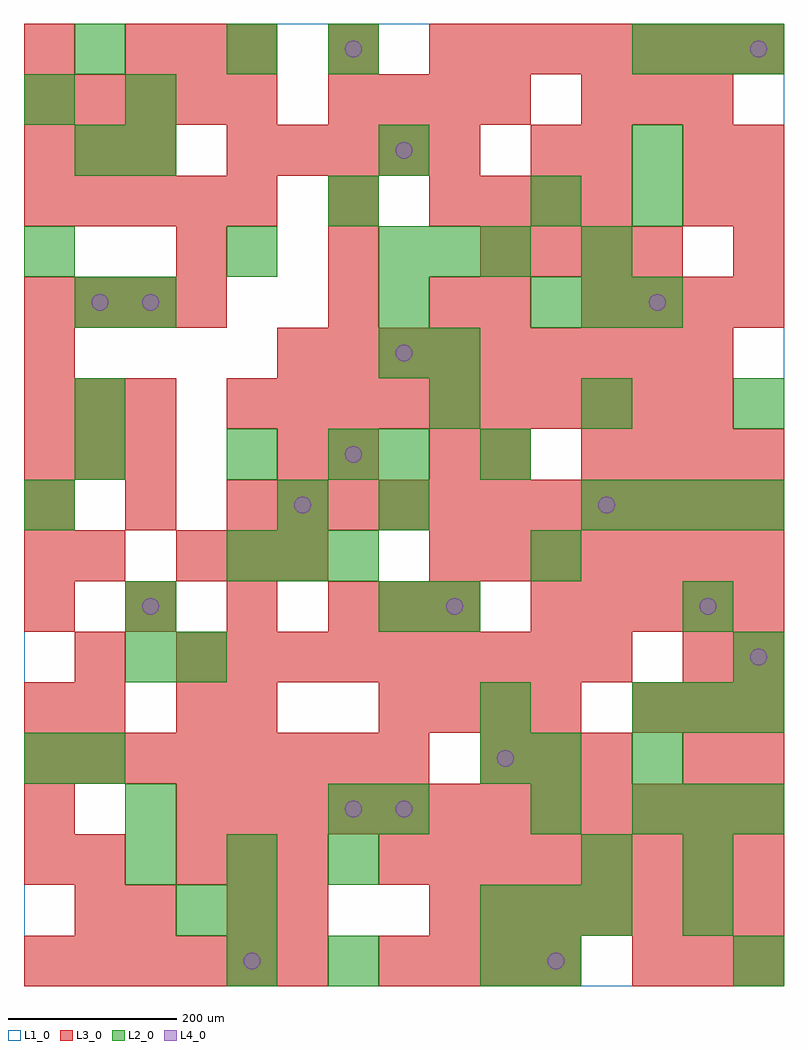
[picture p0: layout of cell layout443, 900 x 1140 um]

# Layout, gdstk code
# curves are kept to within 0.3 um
import gdstk
lib = gdstk.Library(unit=1e-6, precision=1e-09)
def R(c, l, rs):  # rectangles x0, y0, x1, y1
    for r in rs: c.add(gdstk.rectangle(r[:2], r[2:], *l))
def A(c, l, x, y, w, h, nx, ny, dx, dy):  # array of equal rectangles
    R(c, l, [(x+i*dx, y+j*dy, x+i*dx+w, y+j*dy+h) for i in range(nx) for j in range(ny)])
def P(c, l, *ps):  # polygons
    for p in ps: c.add(gdstk.Polygon(p, *l))
L1_0 = (1, 0)
L2_0 = (2, 0)
L3_0 = (3, 0)
L4_0 = (4, 0)

layout443 = lib.new_cell('layout443')
R(layout443, L1_0, [(0,0,900,1140)])
A(layout443, L2_0, 540, 60, 60, 60, 3, 1, 60, 0)
A(layout443, L2_0, 120, 120, 60, 60, 3, 1, 120, 0)
A(layout443, L2_0, 720, 180, 60, 60, 3, 2, 60, 120)
A(layout443, L2_0, 0, 240, 60, 60, 1, 3, 0, 300)
A(layout443, L2_0, 240, 480, 60, 60, 3, 1, 60, 0)
A(layout443, L2_0, 660, 540, 60, 60, 4, 1, 60, 0)
A(layout443, L2_0, 240, 600, 60, 60, 1, 3, 0, 240)
A(layout443, L2_0, 480, 660, 60, 60, 3, 1, 180, 0)
A(layout443, L2_0, 600, 780, 60, 60, 3, 1, 60, 0)
A(layout443, L2_0, 420, 840, 60, 60, 3, 1, 60, 0)
A(layout443, L2_0, 120, 960, 60, 60, 3, 1, 300, 0)
A(layout443, L2_0, 720, 1080, 60, 60, 3, 1, 60, 0)
R(layout443, L2_0, [(240,0,300,60), (360,0,420,60), (540,0,600,60), (600,0,660,60), (840,0,900,60), (180,60,240,120), (240,60,300,120), (780,60,840,120), (660,120,720,180), (780,120,840,180), (120,180,180,240), (360,180,420,240), (420,180,480,240), (600,180,660,240), (60,240,120,300), (540,240,600,300), (600,240,660,300), (720,240,780,300), (540,300,600,360), (120,360,180,420), (180,360,240,420), (840,360,900,420), (120,420,180,480), (420,420,480,480), (480,420,540,480), (780,420,840,480), (600,480,660,540), (300,540,360,600), (420,540,480,600), (60,600,120,660), (360,600,420,660), (420,600,480,660), (540,600,600,660), (60,660,120,720), (420,720,480,780), (480,720,540,780), (60,780,120,840), (120,780,180,840), (420,780,480,840), (660,840,720,900), (360,900,420,960), (600,900,660,960), (720,900,780,960), (60,960,120,1020), (0,1020,60,1080), (120,1020,180,1080), (60,1080,120,1140), (360,1080,420,1140)])
A(layout443, L3_0, 0, 0, 60, 60, 6, 1, 60, 0)
A(layout443, L3_0, 420, 0, 60, 60, 4, 2, 60, 300)
A(layout443, L3_0, 720, 0, 60, 60, 3, 2, 60, 300)
A(layout443, L3_0, 480, 60, 60, 60, 7, 2, 60, 420)
A(layout443, L3_0, 180, 120, 60, 60, 3, 2, 60, 360)
A(layout443, L3_0, 420, 120, 60, 60, 8, 1, 60, 0)
A(layout443, L3_0, 180, 180, 60, 60, 12, 1, 60, 0)
A(layout443, L3_0, 0, 240, 60, 60, 8, 1, 60, 0)
A(layout443, L3_0, 540, 240, 60, 60, 3, 1, 60, 0)
A(layout443, L3_0, 180, 360, 60, 60, 9, 1, 60, 0)
A(layout443, L3_0, 0, 420, 60, 60, 4, 1, 120, 0)
A(layout443, L3_0, 480, 420, 60, 60, 1, 3, 0, 180)
A(layout443, L3_0, 600, 420, 60, 60, 5, 1, 60, 0)
A(layout443, L3_0, 0, 540, 60, 60, 3, 1, 120, 0)
A(layout443, L3_0, 300, 540, 60, 60, 10, 1, 60, 0)
A(layout443, L3_0, 0, 600, 60, 60, 3, 2, 60, 60)
A(layout443, L3_0, 660, 600, 60, 60, 4, 2, 60, 180)
A(layout443, L3_0, 240, 660, 60, 60, 10, 1, 60, 0)
A(layout443, L3_0, 300, 720, 60, 60, 9, 1, 60, 0)
A(layout443, L3_0, 0, 780, 60, 60, 4, 1, 60, 0)
A(layout443, L3_0, 180, 840, 60, 60, 3, 1, 180, 0)
A(layout443, L3_0, 600, 840, 60, 60, 3, 1, 60, 0)
A(layout443, L3_0, 840, 840, 60, 60, 1, 3, 0, 60)
A(layout443, L3_0, 0, 900, 60, 60, 5, 2, 60, 120)
A(layout443, L3_0, 480, 900, 60, 60, 4, 1, 60, 0)
A(layout443, L3_0, 0, 960, 60, 60, 3, 1, 60, 0)
A(layout443, L3_0, 240, 960, 60, 60, 5, 1, 60, 0)
A(layout443, L3_0, 360, 1020, 60, 60, 4, 1, 60, 0)
A(layout443, L3_0, 660, 1020, 60, 60, 3, 1, 60, 0)
A(layout443, L3_0, 120, 1080, 60, 60, 3, 1, 60, 0)
A(layout443, L3_0, 480, 1080, 60, 60, 7, 1, 60, 0)
R(layout443, L3_0, [(60,60,120,120), (120,60,180,120), (240,60,300,120), (300,60,360,120), (0,120,60,180), (60,120,120,180), (0,180,60,240), (780,240,840,300), (840,240,900,300), (0,300,60,360), (60,300,120,360), (180,300,240,360), (240,300,300,360), (60,360,120,420), (780,360,840,420), (840,360,900,420), (420,420,480,480), (0,480,60,540), (60,480,120,540), (300,600,360,660), (360,600,420,660), (540,600,600,660), (0,720,60,780), (360,780,420,840), (540,780,600,840), (360,900,420,960), (780,900,840,960), (600,960,660,1020), (660,960,720,1020), (780,960,840,1020), (0,1080,60,1140), (360,1080,420,1140)])
P(layout443, L4_0, [(100,810),(99.239,813.827),(97.071,817.071),(93.827,819.239),(90,820),(86.173,819.239),(82.929,817.071),(80.761,813.827),(80,810),(80.761,806.173),(82.929,802.929),(86.173,800.761),(90,800),(93.827,800.761),(97.071,802.929),(99.239,806.173)],
  [(160,450),(159.239,453.827),(157.071,457.071),(153.827,459.239),(150,460),(146.173,459.239),(142.929,457.071),(140.761,453.827),(140,450),(140.761,446.173),(142.929,442.929),(146.173,440.761),(150,440),(153.827,440.761),(157.071,442.929),(159.239,446.173)],
  [(160,810),(159.239,813.827),(157.071,817.071),(153.827,819.239),(150,820),(146.173,819.239),(142.929,817.071),(140.761,813.827),(140,810),(140.761,806.173),(142.929,802.929),(146.173,800.761),(150,800),(153.827,800.761),(157.071,802.929),(159.239,806.173)],
  [(280,30),(279.239,33.827),(277.071,37.071),(273.827,39.239),(270,40),(266.173,39.239),(262.929,37.071),(260.761,33.827),(260,30),(260.761,26.173),(262.929,22.929),(266.173,20.761),(270,20),(273.827,20.761),(277.071,22.929),(279.239,26.173)],
  [(340,570),(339.239,573.827),(337.071,577.071),(333.827,579.239),(330,580),(326.173,579.239),(322.929,577.071),(320.761,573.827),(320,570),(320.761,566.173),(322.929,562.929),(326.173,560.761),(330,560),(333.827,560.761),(337.071,562.929),(339.239,566.173)],
  [(400,210),(399.239,213.827),(397.071,217.071),(393.827,219.239),(390,220),(386.173,219.239),(382.929,217.071),(380.761,213.827),(380,210),(380.761,206.173),(382.929,202.929),(386.173,200.761),(390,200),(393.827,200.761),(397.071,202.929),(399.239,206.173)],
  [(400,630),(399.239,633.827),(397.071,637.071),(393.827,639.239),(390,640),(386.173,639.239),(382.929,637.071),(380.761,633.827),(380,630),(380.761,626.173),(382.929,622.929),(386.173,620.761),(390,620),(393.827,620.761),(397.071,622.929),(399.239,626.173)],
  [(400,1110),(399.239,1113.827),(397.071,1117.071),(393.827,1119.239),(390,1120),(386.173,1119.239),(382.929,1117.071),(380.761,1113.827),(380,1110),(380.761,1106.173),(382.929,1102.929),(386.173,1100.761),(390,1100),(393.827,1100.761),(397.071,1102.929),(399.239,1106.173)],
  [(460,210),(459.239,213.827),(457.071,217.071),(453.827,219.239),(450,220),(446.173,219.239),(442.929,217.071),(440.761,213.827),(440,210),(440.761,206.173),(442.929,202.929),(446.173,200.761),(450,200),(453.827,200.761),(457.071,202.929),(459.239,206.173)],
  [(460,750),(459.239,753.827),(457.071,757.071),(453.827,759.239),(450,760),(446.173,759.239),(442.929,757.071),(440.761,753.827),(440,750),(440.761,746.173),(442.929,742.929),(446.173,740.761),(450,740),(453.827,740.761),(457.071,742.929),(459.239,746.173)],
  [(460,990),(459.239,993.827),(457.071,997.071),(453.827,999.239),(450,1000),(446.173,999.239),(442.929,997.071),(440.761,993.827),(440,990),(440.761,986.173),(442.929,982.929),(446.173,980.761),(450,980),(453.827,980.761),(457.071,982.929),(459.239,986.173)],
  [(520,450),(519.239,453.827),(517.071,457.071),(513.827,459.239),(510,460),(506.173,459.239),(502.929,457.071),(500.761,453.827),(500,450),(500.761,446.173),(502.929,442.929),(506.173,440.761),(510,440),(513.827,440.761),(517.071,442.929),(519.239,446.173)],
  [(580,270),(579.239,273.827),(577.071,277.071),(573.827,279.239),(570,280),(566.173,279.239),(562.929,277.071),(560.761,273.827),(560,270),(560.761,266.173),(562.929,262.929),(566.173,260.761),(570,260),(573.827,260.761),(577.071,262.929),(579.239,266.173)],
  [(640,30),(639.239,33.827),(637.071,37.071),(633.827,39.239),(630,40),(626.173,39.239),(622.929,37.071),(620.761,33.827),(620,30),(620.761,26.173),(622.929,22.929),(626.173,20.761),(630,20),(633.827,20.761),(637.071,22.929),(639.239,26.173)],
  [(700,570),(699.239,573.827),(697.071,577.071),(693.827,579.239),(690,580),(686.173,579.239),(682.929,577.071),(680.761,573.827),(680,570),(680.761,566.173),(682.929,562.929),(686.173,560.761),(690,560),(693.827,560.761),(697.071,562.929),(699.239,566.173)],
  [(760,810),(759.239,813.827),(757.071,817.071),(753.827,819.239),(750,820),(746.173,819.239),(742.929,817.071),(740.761,813.827),(740,810),(740.761,806.173),(742.929,802.929),(746.173,800.761),(750,800),(753.827,800.761),(757.071,802.929),(759.239,806.173)],
  [(820,450),(819.239,453.827),(817.071,457.071),(813.827,459.239),(810,460),(806.173,459.239),(802.929,457.071),(800.761,453.827),(800,450),(800.761,446.173),(802.929,442.929),(806.173,440.761),(810,440),(813.827,440.761),(817.071,442.929),(819.239,446.173)],
  [(880,390),(879.239,393.827),(877.071,397.071),(873.827,399.239),(870,400),(866.173,399.239),(862.929,397.071),(860.761,393.827),(860,390),(860.761,386.173),(862.929,382.929),(866.173,380.761),(870,380),(873.827,380.761),(877.071,382.929),(879.239,386.173)],
  [(880,1110),(879.239,1113.827),(877.071,1117.071),(873.827,1119.239),(870,1120),(866.173,1119.239),(862.929,1117.071),(860.761,1113.827),(860,1110),(860.761,1106.173),(862.929,1102.929),(866.173,1100.761),(870,1100),(873.827,1100.761),(877.071,1102.929),(879.239,1106.173)])

lib.write_gds('layout443.gds')
